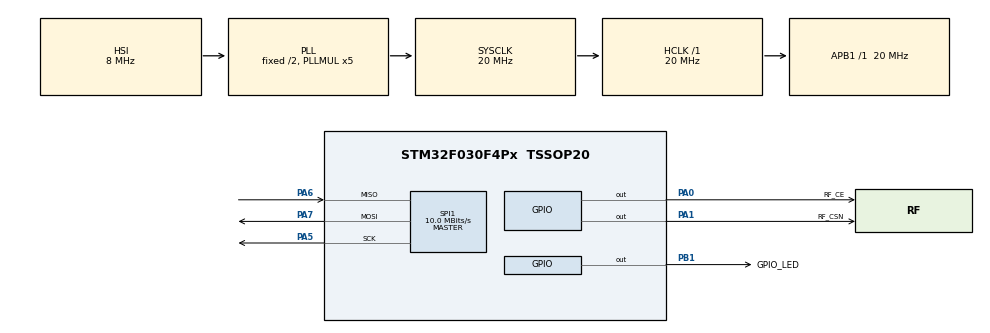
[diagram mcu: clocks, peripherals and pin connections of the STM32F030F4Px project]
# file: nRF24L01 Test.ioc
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Mcu.Family=STM32F0
Mcu.Name=STM32F030F4Px
Mcu.Package=TSSOP20
PA0.GPIO_Label=RF_CE
PA0.Signal=GPIO_Output
PA1.GPIO_Label=RF_CSN
PA1.Signal=GPIO_Output
PA5.Mode=Full_Duplex_Master
PA5.Signal=SPI1_SCK
PA6.Mode=Full_Duplex_Master
PA6.Signal=SPI1_MISO
PA7.Mode=Full_Duplex_Master
PA7.Signal=SPI1_MOSI
PB1.GPIO_Label=GPIO_LED
PB1.Signal=GPIO_Output
ProjectManager.HeapSize=0x200
ProjectManager.StackSize=0x400
ProjectManager.TargetToolchain=SW4STM32
RCC.AHBFreq_Value=20000000
RCC.APB1Freq_Value=20000000
RCC.APB1TimFreq_Value=20000000
RCC.HCLKFreq_Value=20000000
RCC.PLLMUL=RCC_PLL_MUL5
RCC.SYSCLKFreq_VALUE=20000000
RCC.SYSCLKSource=RCC_SYSCLKSOURCE_PLLCLK
SPI1.BaudRatePrescaler=SPI_BAUDRATEPRESCALER_2
SPI1.CalculateBaudRate=10.0 MBits/s
SPI1.DataSize=SPI_DATASIZE_8BIT
SPI1.Direction=SPI_DIRECTION_2LINES
SPI1.Mode=SPI_MODE_MASTER
SPI1.VirtualType=VM_MASTER
board=custom

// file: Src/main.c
/**
  ******************************************************************************
  * @file           : main.c
  * @brief          : Main program body
  ******************************************************************************
  ** This notice applies to any and all portions of this file
  * that are not between comment pairs USER CODE BEGIN and
  * USER CODE END. Other portions of this file, whether
  * inserted by the user or by software development tools
  * are owned by their respective copyright owners.
  *
  * COPYRIGHT(c) 2019 STMicroelectronics
  *
  * Redistribution and use in source and binary forms, with or without modification,
  * are permitted provided that the following conditions are met:
  *   1. Redistributions of source code must retain the above copyright notice,
  *      this list of conditions and the following disclaimer.
  *   2. Redistributions in binary form must reproduce the above copyright notice,
  *      this list of conditions and the following disclaimer in the documentation
  *      and/or other materials provided with the distribution.
  *   3. Neither the name of STMicroelectronics nor the names of its contributors
  *      may be used to endorse or promote products derived from this software
  *      without specific prior written permission.
  *
  * THIS SOFTWARE IS PROVIDED BY THE COPYRIGHT HOLDERS AND CONTRIBUTORS "AS IS"
  * AND ANY EXPRESS OR IMPLIED WARRANTIES, INCLUDING, BUT NOT LIMITED TO, THE
  * IMPLIED WARRANTIES OF MERCHANTABILITY AND FITNESS FOR A PARTICULAR PURPOSE ARE
  * DISCLAIMED. IN NO EVENT SHALL THE COPYRIGHT HOLDER OR CONTRIBUTORS BE LIABLE
  * FOR ANY DIRECT, INDIRECT, INCIDENTAL, SPECIAL, EXEMPLARY, OR CONSEQUENTIAL
  * DAMAGES (INCLUDING, BUT NOT LIMITED TO, PROCUREMENT OF SUBSTITUTE GOODS OR
  * SERVICES; LOSS OF USE, DATA, OR PROFITS; OR BUSINESS INTERRUPTION) HOWEVER
  * CAUSED AND ON ANY THEORY OF LIABILITY, WHETHER IN CONTRACT, STRICT LIABILITY,
  * OR TORT (INCLUDING NEGLIGENCE OR OTHERWISE) ARISING IN ANY WAY OUT OF THE USE
  * OF THIS SOFTWARE, EVEN IF ADVISED OF THE POSSIBILITY OF SUCH DAMAGE.
  *
  ******************************************************************************
  */
#include "main.h"
#include "stm32f0xx_hal.h"

/* USER CODE BEGIN Includes */
#include "MY_NRF24.h"
/* USER CODE END Includes */

SPI_HandleTypeDef hspi1;

/* USER CODE BEGIN PV */
/* Private variables ---------------------------------------------------------*/

/* USER CODE END PV */

void SystemClock_Config(void);
static void MX_GPIO_Init(void);
static void MX_SPI1_Init(void);

/* USER CODE BEGIN PFP */
/* Private function prototypes -----------------------------------------------*/

/* USER CODE END PFP */

int main(void)
{

  /* MCU Configuration----------------------------------------------------------*/

  /* Reset of all peripherals, Initializes the Flash interface and the Systick. */
  HAL_Init();

  /* Configure the system clock */
  SystemClock_Config();

  /* Initialize all configured peripherals */
  MX_GPIO_Init();
  MX_SPI1_Init();
  /* USER CODE BEGIN 2 */

  char txData[32] = "play";
  char rxData[50];
  char waiting = 1;

  NRF24_begin(GPIOA, GPIO_PIN_1, NULL, hspi1);

  NRF24_setAutoAck(true);
  NRF24_setChannel(52);
  NRF24_setPayloadSize(32);

  NRF24_stopListening();
  NRF24_openWritingPipe(0x11223344AA);

  /*
  NRF24_setAutoAck(false);
  NRF24_setChannel(52);
  NRF24_setPayloadSize(32);
  HAL_GPIO_WritePin(GPIOB, GPIO_PIN_1, GPIO_PIN_SET);
  */
  /* USER CODE END 2 */

  /* Infinite loop */
  /* USER CODE BEGIN WHILE */
  while (1)
  {
	  if (waiting)
	  {
		  if (NRF24_write(txData, 32))
		  {
			  waiting = 0;

			  HAL_GPIO_WritePin(GPIOB, GPIO_PIN_1, GPIO_PIN_SET);
			  HAL_Delay(500);
			  HAL_GPIO_WritePin(GPIOB, GPIO_PIN_1, GPIO_PIN_RESET);

			  NRF24_openReadingPipe(1, 0x11223344AA);
			  NRF24_startListening();
		  }
	  }
	  else
	  {
		  if (NRF24_available())
		  {
			  NRF24_read(rxData, 32);
			  if (strcmp(rxData, "done") == 0)
			  {
				  HAL_GPIO_WritePin(GPIOB, GPIO_PIN_1, GPIO_PIN_SET);
			  }
			  else
			  {
				  HAL_GPIO_WritePin(GPIOB, GPIO_PIN_1, GPIO_PIN_SET);
			  }
		  }
	  }
	  /*
	  HAL_GPIO_WritePin(GPIOB, GPIO_PIN_1, GPIO_PIN_SET);
	  HAL_Delay(10);
	  if (NRF24_write(data, 32))
	  {
		  HAL_GPIO_WritePin(GPIOB, GPIO_PIN_1, GPIO_PIN_SET);
	  }
	  else
	  {
		  HAL_GPIO_WritePin(GPIOB, GPIO_PIN_1, GPIO_PIN_RESET);
	  }
	  HAL_Delay(1000);
	  */
  /* USER CODE END WHILE */

  }

}

void SystemClock_Config(void)
{

  RCC_OscInitTypeDef RCC_OscInitStruct;
  RCC_ClkInitTypeDef RCC_ClkInitStruct;

    /**Initializes the CPU, AHB and APB busses clocks
    */
  RCC_OscInitStruct.OscillatorType = RCC_OSCILLATORTYPE_HSI;
  RCC_OscInitStruct.HSIState = RCC_HSI_ON;
  RCC_OscInitStruct.HSICalibrationValue = 16;
  RCC_OscInitStruct.PLL.PLLState = RCC_PLL_ON;
  RCC_OscInitStruct.PLL.PLLSource = RCC_PLLSOURCE_HSI;
  RCC_OscInitStruct.PLL.PLLMUL = RCC_PLL_MUL5;
  RCC_OscInitStruct.PLL.PREDIV = RCC_PREDIV_DIV1;
  if (HAL_RCC_OscConfig(&RCC_OscInitStruct) != HAL_OK)
  {
    _Error_Handler(__FILE__, __LINE__);
  }

    /**Initializes the CPU, AHB and APB busses clocks
    */
  RCC_ClkInitStruct.ClockType = RCC_CLOCKTYPE_HCLK|RCC_CLOCKTYPE_SYSCLK
                              |RCC_CLOCKTYPE_PCLK1;
  RCC_ClkInitStruct.SYSCLKSource = RCC_SYSCLKSOURCE_PLLCLK;
  RCC_ClkInitStruct.AHBCLKDivider = RCC_SYSCLK_DIV1;
  RCC_ClkInitStruct.APB1CLKDivider = RCC_HCLK_DIV1;

  if (HAL_RCC_ClockConfig(&RCC_ClkInitStruct, FLASH_LATENCY_0) != HAL_OK)
  {
    _Error_Handler(__FILE__, __LINE__);
  }

    /**Configure the Systick interrupt time
    */
  HAL_SYSTICK_Config(HAL_RCC_GetHCLKFreq()/1000);

    /**Configure the Systick
    */
  HAL_SYSTICK_CLKSourceConfig(SYSTICK_CLKSOURCE_HCLK);

  /* SysTick_IRQn interrupt configuration */
  HAL_NVIC_SetPriority(SysTick_IRQn, 0, 0);
}

/* SPI1 init function */
static void MX_SPI1_Init(void)
{

  /* SPI1 parameter configuration*/
  hspi1.Instance = SPI1;
  hspi1.Init.Mode = SPI_MODE_MASTER;
  hspi1.Init.Direction = SPI_DIRECTION_2LINES;
  hspi1.Init.DataSize = SPI_DATASIZE_8BIT;
  hspi1.Init.CLKPolarity = SPI_POLARITY_LOW;
  hspi1.Init.CLKPhase = SPI_PHASE_1EDGE;
  hspi1.Init.NSS = SPI_NSS_SOFT;
  hspi1.Init.BaudRatePrescaler = SPI_BAUDRATEPRESCALER_2;
  hspi1.Init.FirstBit = SPI_FIRSTBIT_MSB;
  hspi1.Init.TIMode = SPI_TIMODE_DISABLE;
  hspi1.Init.CRCCalculation = SPI_CRCCALCULATION_DISABLE;
  hspi1.Init.CRCPolynomial = 7;
  hspi1.Init.CRCLength = SPI_CRC_LENGTH_DATASIZE;
  hspi1.Init.NSSPMode = SPI_NSS_PULSE_ENABLE;
  if (HAL_SPI_Init(&hspi1) != HAL_OK)
  {
    _Error_Handler(__FILE__, __LINE__);
  }

}

/** Configure pins as
        * Analog
        * Input
        * Output
        * EVENT_OUT
        * EXTI
*/
static void MX_GPIO_Init(void)
{

  GPIO_InitTypeDef GPIO_InitStruct;

  /* GPIO Ports Clock Enable */
  __HAL_RCC_GPIOA_CLK_ENABLE();
  __HAL_RCC_GPIOB_CLK_ENABLE();

  /*Configure GPIO pin Output Level */
  HAL_GPIO_WritePin(GPIOA, RF_CE_Pin|RF_CSN_Pin, GPIO_PIN_RESET);

  /*Configure GPIO pin Output Level */
  HAL_GPIO_WritePin(GPIO_LED_GPIO_Port, GPIO_LED_Pin, GPIO_PIN_RESET);

  /*Configure GPIO pins : RF_CE_Pin RF_CSN_Pin */
  GPIO_InitStruct.Pin = RF_CE_Pin|RF_CSN_Pin;
  GPIO_InitStruct.Mode = GPIO_MODE_OUTPUT_PP;
  GPIO_InitStruct.Pull = GPIO_NOPULL;
  GPIO_InitStruct.Speed = GPIO_SPEED_FREQ_LOW;
  HAL_GPIO_Init(GPIOA, &GPIO_InitStruct);

  /*Configure GPIO pin : GPIO_LED_Pin */
  GPIO_InitStruct.Pin = GPIO_LED_Pin;
  GPIO_InitStruct.Mode = GPIO_MODE_OUTPUT_PP;
  GPIO_InitStruct.Pull = GPIO_NOPULL;
  GPIO_InitStruct.Speed = GPIO_SPEED_FREQ_LOW;
  HAL_GPIO_Init(GPIO_LED_GPIO_Port, &GPIO_InitStruct);

}

void _Error_Handler(char *file, int line)
{
  while(1)
  {
  }
}

/************************ (C) COPYRIGHT STMicroelectronics *****END OF FILE****/
